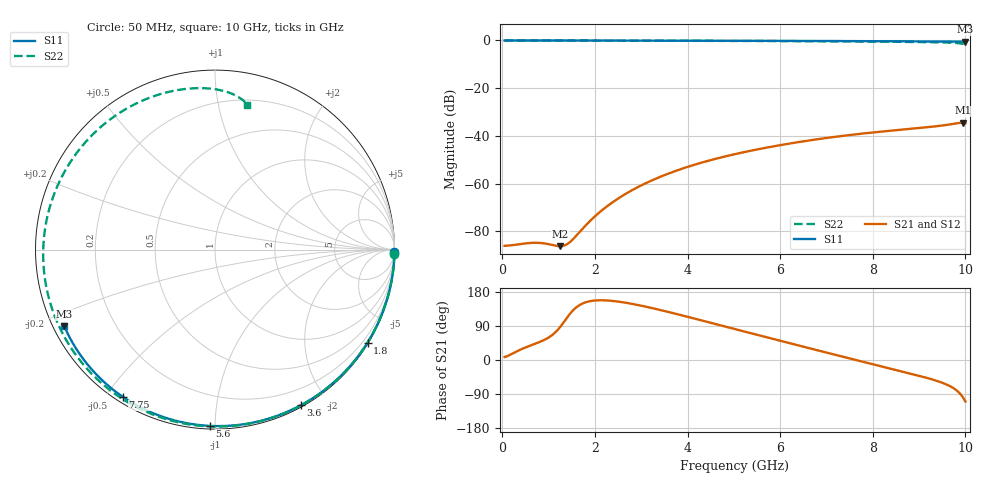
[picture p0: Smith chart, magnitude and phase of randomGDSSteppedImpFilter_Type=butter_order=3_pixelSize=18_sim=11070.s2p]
! freq	dB(S11)	phase(S11)	dB(S12)	phase(S12)
!  dB(S21)	phase(S21)	dB(S22)	phase(S22)
!S-par simulation data
#  GHz  S  DB  R 50
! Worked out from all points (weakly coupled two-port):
!   200 points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, 50 MHz to 10 GHz, reference 50 ohm
!   highest |S21| = -34.50 dB at 9.95 GHz (marker M1); lowest = -86.2 dB at 1.25 GHz (marker M2)
!   lowest |S11| = -0.5 dB at 10 GHz (marker M3), VSWR 33.01, Z = 1.6 - j12 ohm
!   |S11| at or under -10 dB: nowhere
!   |S22| runs from -1.7 to 0.0 dB; largest |S21 - S12| = 0
!   S11 on the Smith chart (normalised r, x): 50 MHz: open; 1.8 GHz: 0.03, -3.56; 3.6 GHz: 0.02, -1.69; 5.6 GHz: 0.02, -0.97; 7.75 GHz: 0.02, -0.55; 10 GHz: 0.03, -0.24
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0.05  -0.00 -0.9  -86.05 8.0  -86.05 8.0  -0.00 -1.3
0.65  -0.01 -11.5  -84.79 40.1  -84.79 40.1  -0.02 -17.1
1.25  -0.03 -21.9  -86.20 87.0  -86.20 87.0  -0.04 -32.7
1.65  -0.04 -28.8  -80.69 143.6  -80.69 143.6  -0.05 -42.9
1.75  -0.04 -30.5  -78.55 150.0  -78.55 150.0  -0.06 -45.4
1.8  -0.04 -31.4  -77.51 152.3  -77.51 152.3  -0.06 -46.7
2.15  -0.05 -37.3  -71.18 157.7  -71.18 157.7  -0.07 -55.5
2.5  -0.06 -43.2  -66.24 154.2  -66.24 154.2  -0.08 -64.2
3.4  -0.08 -57.9  -57.22 132.3  -57.22 132.3  -0.11 -86.0
3.6  -0.08 -61.1  -55.69 126.4  -55.69 126.4  -0.12 -90.8
4.3  -0.10 -72.1  -51.21 104.6  -51.21 104.6  -0.15 -107.5
5.05  -0.13 -83.6  -47.52 80.8  -47.52 80.8  -0.19 -125.2
5.6  -0.15 -91.7  -45.29 63.4  -45.29 63.4  -0.23 -138.4
6.7  -0.21 -107.5  -41.68 28.9  -41.68 28.9  -0.32 -166.1
7.25  -0.25 -115.2  -40.22 11.8  -40.22 11.8  -0.38 178.9
7.75  -0.28 -122.1  -39.08 -3.6  -39.08 -3.6  -0.45 164.3
8.35  -0.34 -130.3  -37.89 -21.7  -37.89 -21.7  -0.54 145.1
8.8  -0.38 -136.4  -37.08 -35.4  -37.08 -35.4  -0.62 129.2
9.3  -0.43 -143.3  -36.12 -51.9  -36.12 -51.9  -0.74 109.5
9.7  -0.48 -148.8  -35.08 -71.2  -35.08 -71.2  -0.94 91.8
9.95  -0.52 -152.3  -34.50 -99.0  -34.50 -99.0  -1.43 79.5
10  -0.53 -153.1  -34.71 -109.5  -34.71 -109.5  -1.66 77.3
